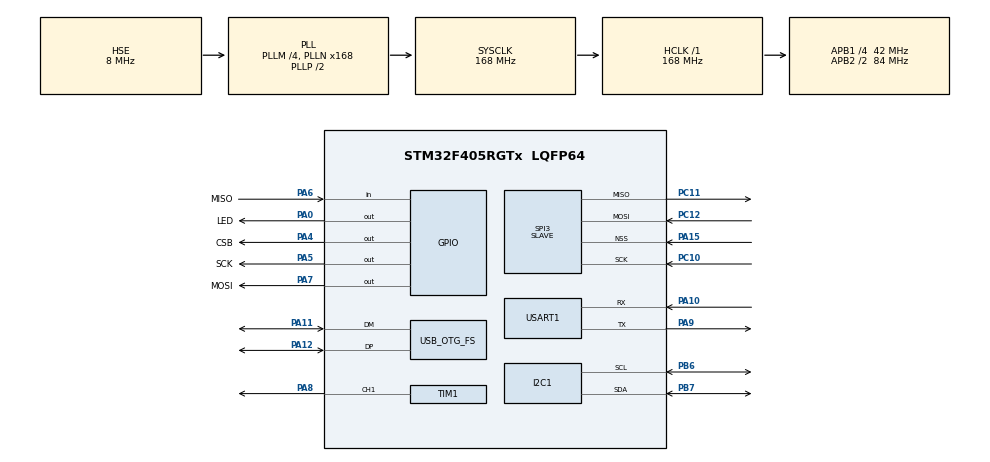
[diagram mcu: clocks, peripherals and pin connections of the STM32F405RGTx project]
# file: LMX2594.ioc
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Mcu.Family=STM32F4
Mcu.Name=STM32F405RGTx
Mcu.Package=LQFP64
NVIC.OTG_FS_IRQn=true\:3\:0\:true\:false\:true\:false\:true\:true
NVIC.PriorityGroup=NVIC_PRIORITYGROUP_4
NVIC.TIM1_UP_TIM10_IRQn=true\:0\:0\:false\:false\:true\:true\:true\:true
PA0-WKUP.GPIO_Label=LED
PA0-WKUP.GPIO_ModeDefaultOutputPP=GPIO_MODE_OUTPUT_OD
PA0-WKUP.GPIO_PuPd=GPIO_NOPULL
PA0-WKUP.PinState=GPIO_PIN_SET
PA0-WKUP.Signal=GPIO_Output
PA10.Mode=Asynchronous
PA10.Signal=USART1_RX
PA11.Mode=Device_Only
PA11.Signal=USB_OTG_FS_DM
PA12.Mode=Device_Only
PA12.Signal=USB_OTG_FS_DP
PA13.Mode=Serial_Wire
PA13.Signal=SYS_JTMS-SWDIO
PA14.Mode=Serial_Wire
PA14.Signal=SYS_JTCK-SWCLK
PA15.Mode=NSS_Signal_Hard_Input
PA15.Signal=SPI3_NSS
PA4.GPIO_Label=CSB
PA4.Signal=GPIO_Output
PA5.GPIO_Label=SCK
PA5.Signal=GPIO_Output
PA6.GPIO_Label=MISO
PA6.Signal=GPIO_Input
PA7.GPIO_Label=MOSI
PA7.Signal=GPIO_Output
PA8.Signal=S_TIM1_CH1
PA9.Mode=Asynchronous
PA9.Signal=USART1_TX
PB6.Mode=I2C
PB6.Signal=I2C1_SCL
PB7.Mode=I2C
PB7.Signal=I2C1_SDA
PC10.Mode=Full_Duplex_Slave
PC10.Signal=SPI3_SCK
PC11.Mode=Full_Duplex_Slave
PC11.Signal=SPI3_MISO
PC12.Mode=Full_Duplex_Slave
PC12.Signal=SPI3_MOSI
PH0-OSC_IN.Mode=HSE-External-Oscillator
PH0-OSC_IN.Signal=RCC_OSC_IN
PH1-OSC_OUT.Mode=HSE-External-Oscillator
PH1-OSC_OUT.Signal=RCC_OSC_OUT
ProjectManager.HeapSize=0x200
ProjectManager.StackSize=0x400
ProjectManager.TargetToolchain=Makefile
RCC.48MHZClocksFreq_Value=48000000
RCC.AHBFreq_Value=168000000
RCC.APB1CLKDivider=RCC_HCLK_DIV4
RCC.APB1Freq_Value=42000000
RCC.APB1TimFreq_Value=84000000
RCC.APB2CLKDivider=RCC_HCLK_DIV2
RCC.APB2Freq_Value=84000000
RCC.APB2TimFreq_Value=168000000
RCC.CortexFreq_Value=168000000
RCC.HCLKFreq_Value=168000000
RCC.HSE_VALUE=8000000
RCC.HSI_VALUE=16000000
RCC.LSE_VALUE=32768
RCC.PLLM=4
RCC.PLLN=168
RCC.PLLQ=7
RCC.SYSCLKFreq_VALUE=168000000
RCC.SYSCLKSource=RCC_SYSCLKSOURCE_PLLCLK
RCC.VCOOutputFreq_Value=336000000
SH.S_TIM1_CH1.0=TIM1_CH1,PWM Generation1 CH1
SPI3.Direction=SPI_DIRECTION_2LINES
SPI3.Mode=SPI_MODE_SLAVE
SPI3.VirtualNSS=VM_NSSHARD
SPI3.VirtualType=VM_SLAVE
TIM1.AutoReloadPreload=TIM_AUTORELOAD_PRELOAD_ENABLE
TIM1.Channel-PWM\ Generation1\ CH1=TIM_CHANNEL_1
TIM1.Period=10000-1
TIM1.Prescaler=168-1
TIM1.TIM_MasterOutputTrigger=TIM_TRGO_UPDATE
USART1.VirtualMode=VM_ASYNC
USB_DEVICE.CLASS_NAME_FS=CDC
USB_DEVICE.VirtualMode-CDC_FS=Cdc
USB_DEVICE.VirtualModeFS=Cdc_FS
USB_OTG_FS.VirtualMode=Device_Only
VP_TIM1_VS_ClockSourceINT.Mode=Internal
VP_USB_DEVICE_VS_USB_DEVICE_CDC_FS.Mode=CDC_FS
board=custom

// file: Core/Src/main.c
/* USER CODE BEGIN Header */
/**
******************************************************************************
  * @file           : main.c
  * @brief          : Main program body
  ******************************************************************************
  * @attention
  *
  * Copyright (c) 2024 STMicroelectronics.
  * All rights reserved.
  *
  * This software is licensed under terms that can be found in the LICENSE file
  * in the root directory of this software component.
  * If no LICENSE file comes with this software, it is provided AS-IS.
  *
  ******************************************************************************
  */
/* USER CODE END Header */
#include "main.h"
#include "i2c.h"
#include "spi.h"
#include "ssd1306_fonts.h"
#include "tim.h"
#include "usart.h"
#include "usb_device.h"
#include "gpio.h"

/* USER CODE BEGIN Includes */
#include "lmx2594.h"
#include "ssd1306.h"
#include "usbd_cdc_if.h"
#include <math.h>
#include <stdint.h>
/* USER CODE END Includes */

/* USER CODE BEGIN PV */
char uart_data[64];
uint32_t PLL_N, PLL_DEN, PLL_NUM;
uint32_t OUTA_MUX, OUTB_MUX, CHDIV;
float f_VCO, f_OUT;
/* USER CODE END PV */

void SystemClock_Config(void);

int main(void)
{

  /* MCU Configuration--------------------------------------------------------*/

  /* Reset of all peripherals, Initializes the Flash interface and the Systick. */
  HAL_Init();

  /* Configure the system clock */
  SystemClock_Config();

  /* Initialize all configured peripherals */
  MX_GPIO_Init();
  MX_SPI3_Init();
  MX_TIM1_Init();
  MX_USART1_UART_Init();
  MX_USB_DEVICE_Init();
  MX_I2C1_Init();
  /* USER CODE BEGIN 2 */
  ssd1306_Init();
  ssd1306_Fill(White);
  ssd1306_UpdateScreen();

  HAL_Delay(1000);
  ssd1306_Fill(Black);
  ssd1306_UpdateScreen();

  DrawUI();
  ssd1306_UpdateScreen();

  LMX2594_Init();
  /* USER CODE END 2 */

  /* Infinite loop */
  /* USER CODE BEGIN WHILE */
  while (1)
  {
    HAL_Delay(33);
    uint32_t len = 0;
    uint32_t data = 0;
    data = LMX2594_ReadReg(0x6e);
    len = sprintf(uart_data, "Lock Detect: %x\r\n", data);
    CDC_Transmit_FS((uint8_t *)uart_data, len);

    if ((data & 0x0600) == 0x0400) {
      HAL_GPIO_WritePin(LED_GPIO_Port, LED_Pin, 0);
      ssd1306_SetCursor(68, 0);
      ssd1306_WriteString("  LOCKED", Font_7x10, Black);//start from 68px
    } else {
      HAL_GPIO_WritePin(LED_GPIO_Port, LED_Pin, 1);
      ssd1306_SetCursor(68, 0);
      ssd1306_WriteString("UNLOCKED", Font_7x10, Black);//start from 68px
    }

    PLL_N = LMX2594_ReadReg(36);

    PLL_DEN = LMX2594_ReadReg(38);
    PLL_DEN = (PLL_DEN << 16) |  LMX2594_ReadReg(39);

    PLL_NUM = LMX2594_ReadReg(42);
    PLL_NUM = (PLL_NUM << 16) |  LMX2594_ReadReg(43);

    f_VCO = 200.0 * (PLL_N+((float_t)PLL_NUM/(float_t)PLL_DEN));
    len = sprintf(uart_data, "%.2fMHz", f_VCO);
    ssd1306_SetCursor(32, 11);
    ssd1306_WriteString(uart_data, Font_7x10, White);//start from 32px

    OUTA_MUX = (LMX2594_ReadReg(45) >> 11) & 0x03;
    CHDIV = (LMX2594_ReadReg(75) >> 6) & 0x1f;

    f_OUT = OUTA_MUX == 0 ? f_VCO/CHDIV_MAP[CHDIV] : f_VCO;
    len = sprintf(uart_data, "%.2fMHz", f_OUT);
    ssd1306_SetCursor(32, 21);
    ssd1306_WriteString(uart_data, Font_7x10, White);//start from 32px

    ssd1306_UpdateScreen();
    /* HAL_Delay(500); */
    /* HAL_GPIO_WritePin(LED_GPIO_Port, LED_Pin, 1); */

    /* if (HAL_GPIO_ReadPin(MISO_GPIO_Port, MISO_Pin)) { */
    /*   HAL_GPIO_WritePin(LED_GPIO_Port, LED_Pin, 0); */

    /* } else { */
    /*   HAL_GPIO_WritePin(LED_GPIO_Port, LED_Pin, 1); */

    /* } */

    /* USER CODE END WHILE */

  }
}

void SystemClock_Config(void)
{
  RCC_OscInitTypeDef RCC_OscInitStruct = {0};
  RCC_ClkInitTypeDef RCC_ClkInitStruct = {0};

  /** Configure the main internal regulator output voltage
  */
  __HAL_RCC_PWR_CLK_ENABLE();
  __HAL_PWR_VOLTAGESCALING_CONFIG(PWR_REGULATOR_VOLTAGE_SCALE1);

  /** Initializes the RCC Oscillators according to the specified parameters
  * in the RCC_OscInitTypeDef structure.
  */
  RCC_OscInitStruct.OscillatorType = RCC_OSCILLATORTYPE_HSE;
  RCC_OscInitStruct.HSEState = RCC_HSE_ON;
  RCC_OscInitStruct.PLL.PLLState = RCC_PLL_ON;
  RCC_OscInitStruct.PLL.PLLSource = RCC_PLLSOURCE_HSE;
  RCC_OscInitStruct.PLL.PLLM = 4;
  RCC_OscInitStruct.PLL.PLLN = 168;
  RCC_OscInitStruct.PLL.PLLP = RCC_PLLP_DIV2;
  RCC_OscInitStruct.PLL.PLLQ = 7;
  if (HAL_RCC_OscConfig(&RCC_OscInitStruct) != HAL_OK)
  {
    Error_Handler();
  }

  /** Initializes the CPU, AHB and APB buses clocks
  */
  RCC_ClkInitStruct.ClockType = RCC_CLOCKTYPE_HCLK|RCC_CLOCKTYPE_SYSCLK
                              |RCC_CLOCKTYPE_PCLK1|RCC_CLOCKTYPE_PCLK2;
  RCC_ClkInitStruct.SYSCLKSource = RCC_SYSCLKSOURCE_PLLCLK;
  RCC_ClkInitStruct.AHBCLKDivider = RCC_SYSCLK_DIV1;
  RCC_ClkInitStruct.APB1CLKDivider = RCC_HCLK_DIV4;
  RCC_ClkInitStruct.APB2CLKDivider = RCC_HCLK_DIV2;

  if (HAL_RCC_ClockConfig(&RCC_ClkInitStruct, FLASH_LATENCY_5) != HAL_OK)
  {
    Error_Handler();
  }
}

void Error_Handler(void)
{
  __disable_irq();
  while (1)
  {
  }
}
